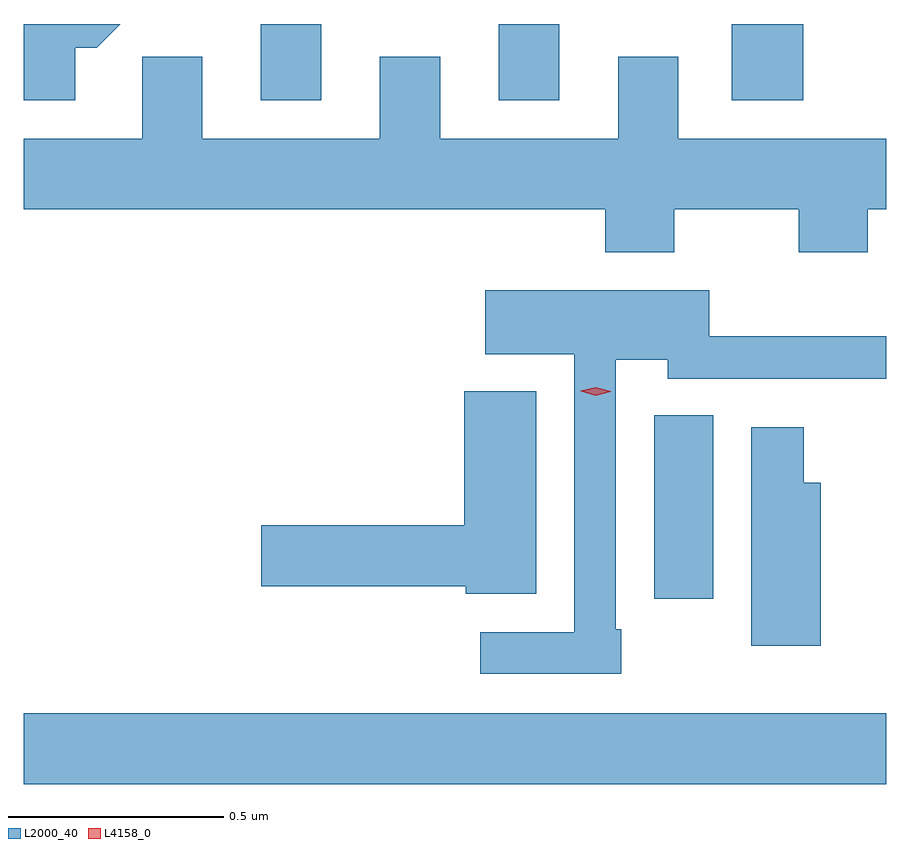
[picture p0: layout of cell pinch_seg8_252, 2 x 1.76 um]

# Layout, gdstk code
import gdstk
lib = gdstk.Library(unit=1e-6, precision=1e-09)
def R(c, l, rs):  # rectangles x0, y0, x1, y1
    for r in rs: c.add(gdstk.rectangle(r[:2], r[2:], *l))
def P(c, l, *ps):  # polygons
    for p in ps: c.add(gdstk.Polygon(p, *l))
L2000_40 = (2000, 40)
L4158_0 = (4158, 0)

pinch_seg8_252 = lib.new_cell('pinch_seg8_252')
R(pinch_seg8_252, L2000_40, [(826.789,1087.196,828.789,1087.36), (828.251,1087.626,828.388,1088.051), (827.339,1088.781,827.479,1088.958), (827.891,1088.781,828.031,1088.958), (828.431,1088.781,828.596,1088.958)])
P(pinch_seg8_252, L2000_40, [(826.909,1088.903),(826.958,1088.903),(827.013,1088.958),(826.789,1088.958),(826.789,1088.781),(826.909,1088.781)],
  [(828.297,1088.528),(828.586,1088.528),(828.586,1088.429),(828.746,1088.429),(828.746,1088.528),(828.789,1088.528),(828.789,1088.692),(828.307,1088.692),(828.307,1088.882),(828.167,1088.882),(828.167,1088.692),(827.755,1088.692),(827.755,1088.882),(827.615,1088.882),(827.615,1088.692),(827.203,1088.692),(827.203,1088.882),(827.064,1088.882),(827.064,1088.692),(826.789,1088.692),(826.789,1088.528),(828.137,1088.528),(828.137,1088.429),(828.297,1088.429)],
  [(828.175,1087.555),(828.162,1087.555),(828.162,1088.18),(828.282,1088.18),(828.282,1088.136),(828.694,1088.136),(828.694,1088.135),(828.789,1088.135),(828.789,1088.234),(828.378,1088.234),(828.378,1088.341),(827.859,1088.341),(827.859,1088.192),(828.066,1088.192),(828.066,1087.548),(827.847,1087.548),(827.847,1087.452),(828.175,1087.452)],
  [(827.977,1088.107),(827.81,1088.107),(827.81,1087.796),(827.34,1087.796),(827.34,1087.654),(827.814,1087.654),(827.814,1087.637),(827.977,1087.637)],
  [(828.637,1087.894),(828.598,1087.894),(828.598,1088.023),(828.476,1088.023),(828.476,1087.517),(828.637,1087.517)])
P(pinch_seg8_252, L4158_0, [(828.115,1088.096),(828.08,1088.107),(828.08,1088.108),(828.08,1088.108),(828.115,1088.116),(828.15,1088.106),(828.15,1088.106),(828.15,1088.105)])

lib.write_gds('pinch_seg8_252.gds')
